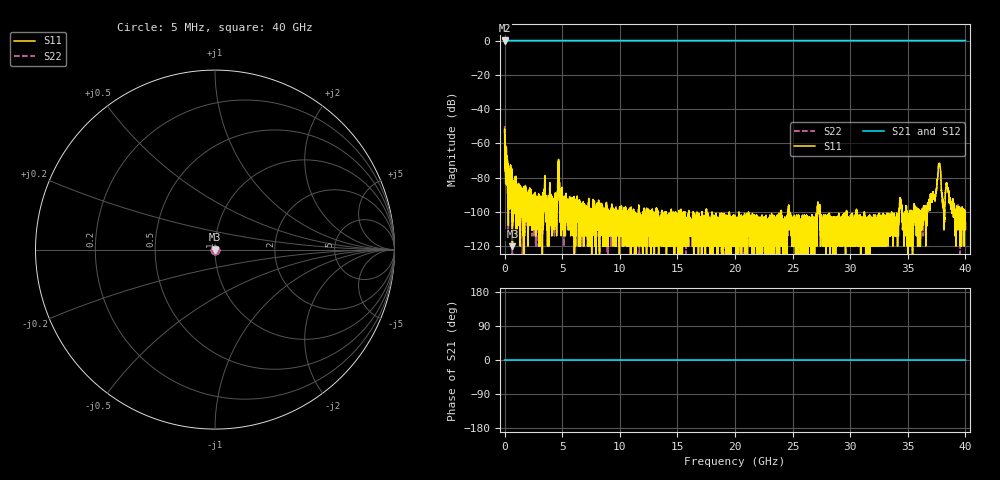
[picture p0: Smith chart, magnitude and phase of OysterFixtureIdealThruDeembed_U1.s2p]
! File created by SignalIntegrity v1.1.1: Signal and Power Integrity Tools
! https://github.com/TeledyneLeCroy/SignalIntegrity
# MHz MA S R 50.0
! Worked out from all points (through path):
!   8000 points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, 5 MHz to 40 GHz, reference 50 ohm
!   highest |S21| = 0.03 dB at 15 MHz (marker M1); lowest = 0.0 dB at 5 MHz (marker M2)
!   lowest |S11| = -120.0 dB at 680 MHz (marker M3), VSWR 1.00, Z = 50 - j5.1e-05 ohm
!   |S11| at or under -10 dB: start of sweep to end of sweep
!   |S22| runs from - to -49.9 dB; largest |S21 - S12| = 0.0016
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5  0.002082 -105.1  0.9972 -0.2  0.9983 -0.1  0.003199 -120.4
15  0.001933 6.4  1.003 -0.1  1.002 -0.0  0.002121 -8.9
215  0.000345 139.1  0.9995 -0.0  0.9994 -0.0  0.000305 124.6
260  0.000219 169.4  0.9997 -0.0  0.9996 -0.0  0.000194 177.6
380  5.6e-05 150.1  0.9998 0.0  0.9999 0.0  7.9e-05 162.4
545  0.000191 -146.5  0.9999 0.0  0.9999 0.0  0.000164 -138.3
680  1e-06 -149.4  1 -0.0  1 -0.0  0 -115.1
4430  6e-06 -66.3  1 0.0  1 0.0  6e-06 -68.3
4535  2.6e-05 117.4  1 -0.0  1 -0.0  2.7e-05 111.2
4835  4e-05 -86.0  1 -0.0  1 0.0  4.4e-05 -86.5
4950  2.3e-05 -49.9  1 -0.0  1 -0.0  2.2e-05 -53.2
6675  1.3e-05 -48.5  1 0.0  1 0.0  1.2e-05 -44.3
13340  2e-06 -54.5  1 -0.0  1 -0.0  4e-06 -46.4
20005  6e-06 91.7  1 0.0  1 0.0  6e-06 91.7
26670  0 -47.6  1 -0.0  1 -0.0  0 -20.6
33335  8e-06 -96.4  1 -0.0  1 -0.0  8e-06 -97.3
37400  3.1e-05 91.3  1 -0.0  1 -0.0  3.1e-05 91.3
37675  0.000247 -111.2  1 0.0  1 0.0  0.000247 -111.2
37835  0.000174 -107.6  1 -0.0  1 -0.0  0.000174 -107.6
38005  2.2e-05 -161.9  1 0.0  1 0.0  2.4e-05 -158.1
38075  2e-05 -100.7  1 0.0  1 0.0  2e-05 -100.6
40000  5e-06 -32.8  1 -0.0  1 -0.0  5e-06 -32.6
